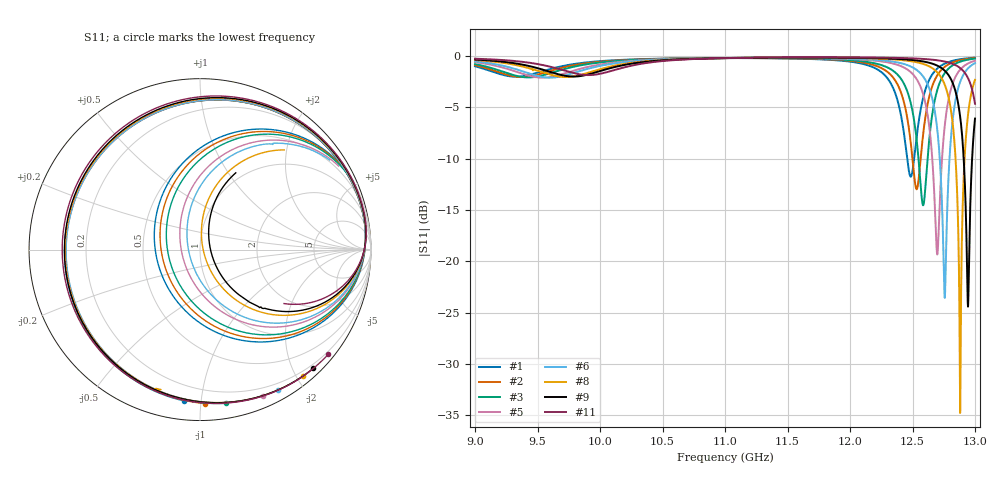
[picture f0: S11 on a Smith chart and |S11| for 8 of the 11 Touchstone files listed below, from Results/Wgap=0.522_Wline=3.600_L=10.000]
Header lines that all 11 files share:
! TOUCHSTONE file generated by CST DESIGN STUDIO
! Project name: C:\Work\MatlabApps\UnitCellOptimizationMatlab\CST\unitcell.cst
! Tree item: Tasks\Sweep1\SPara1\S-Parameters
! Header version: 2024
! Port assignment regex: !\s*Touchstone port\s*([0-9]+)\s*=\s*(CST MWS port|CST DES external port|CST DES block port)\s*(.+)\s* \(\"(.*)\"\)(\s*mode\s*([0-9]+))?.*
! Touchstone port assignment:
! Touchstone port 1 = CST DES external port 1 ("")
# GHz S MA R 50
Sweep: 9 GHz to 13 GHz
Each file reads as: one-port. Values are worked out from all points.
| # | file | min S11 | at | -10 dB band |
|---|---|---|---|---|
| 1 | DS_for_MWS-run-0001.s1p | -11.8 dB | 12.49 GHz | 55.47 MHz wide |
| 2 | DS_for_MWS-run-0002.s1p | -13.0 dB | 12.53 GHz | 65.7 MHz wide |
| 3 | DS_for_MWS-run-0003.s1p | -14.5 dB | 12.59 GHz | 72.53 MHz wide |
| 4 | DS_for_MWS-run-0004.s1p | -16.6 dB | 12.64 GHz | 76.55 MHz wide |
| 5 | DS_for_MWS-run-0005.s1p | -19.3 dB | 12.7 GHz | 78.2 MHz wide |
| 6 | DS_for_MWS-run-0006.s1p | -23.6 dB | 12.76 GHz | 77.85 MHz wide |
| 7 | DS_for_MWS-run-0007.s1p | -32.3 dB | 12.82 GHz | 75.8 MHz wide |
| 8 | DS_for_MWS-run-0008.s1p | -34.8 dB | 12.88 GHz | 72.28 MHz wide |
| 9 | DS_for_MWS-run-0009.s1p | -24.4 dB | 12.94 GHz | 67.46 MHz wide |
| 10 | DS_for_MWS-run-0010.s1p | -18.5 dB | 13 GHz | over 25.4 MHz wide |
| 11 | DS_for_MWS-run-0011.s1p | -4.7 dB | 13 GHz | - |
